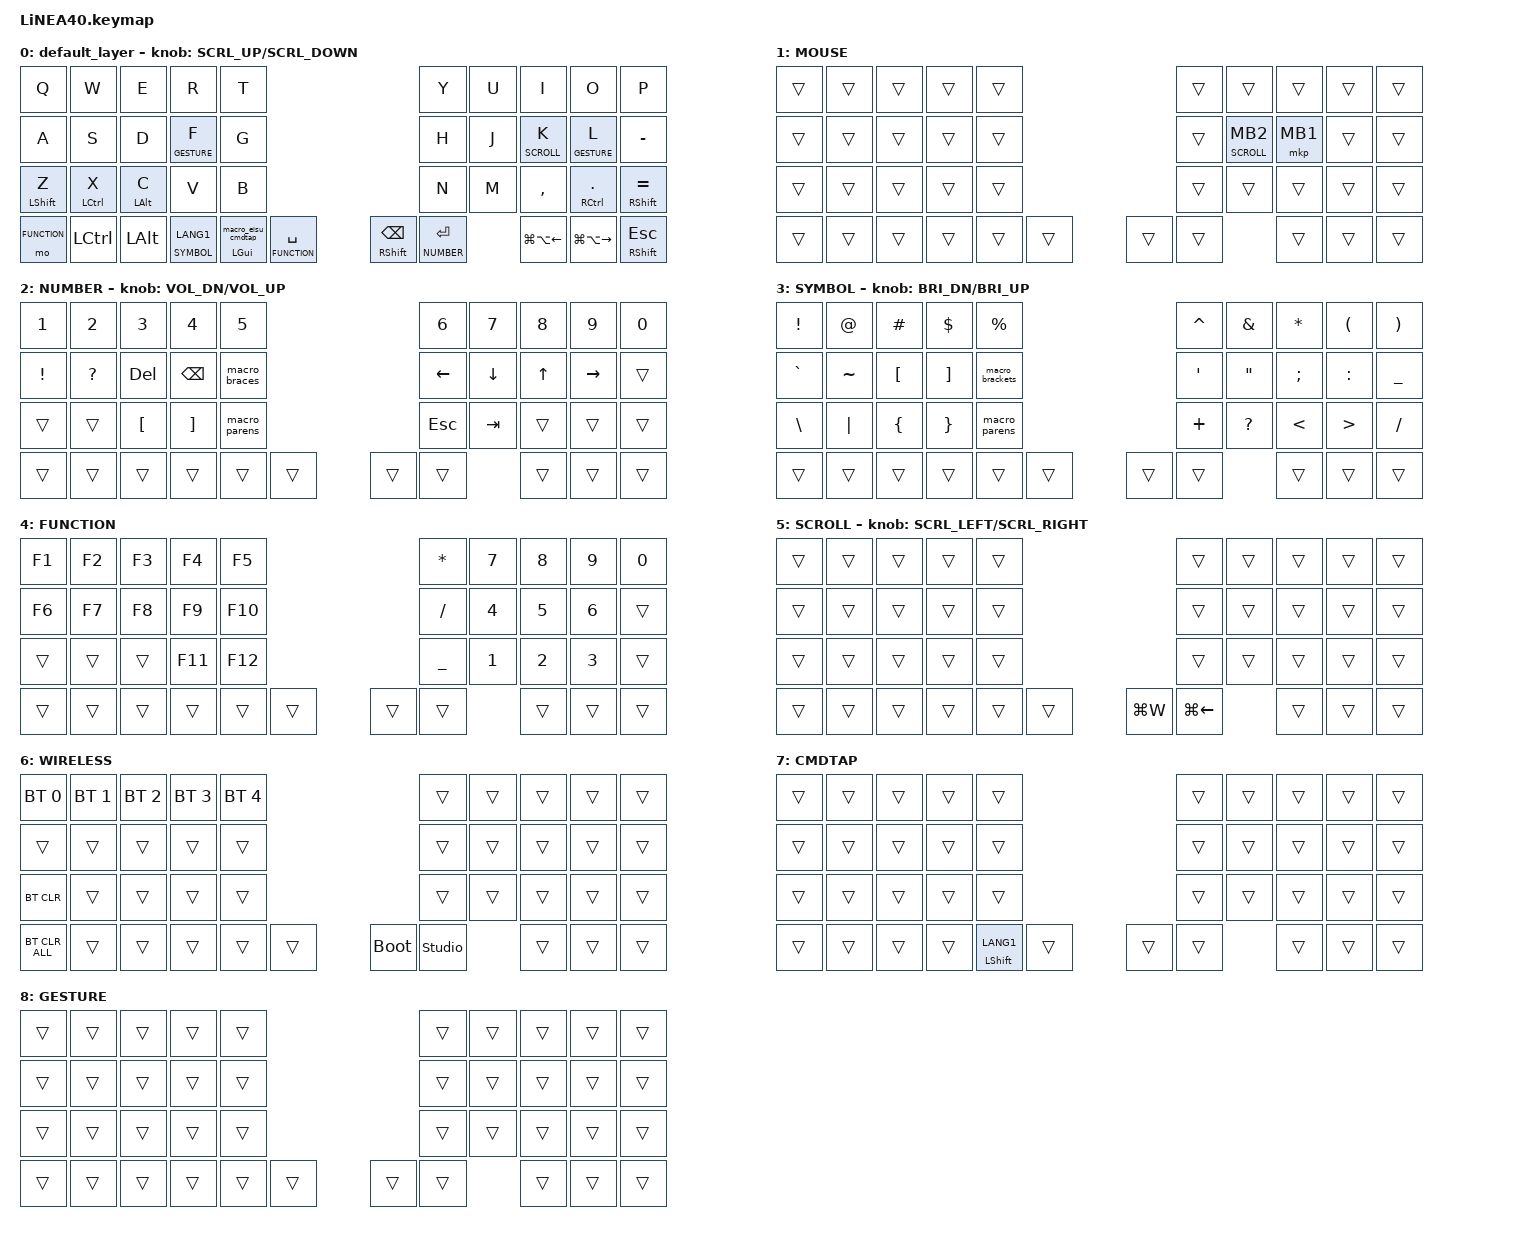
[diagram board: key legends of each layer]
#define ZMK_POINTING_DEFAULT_SCRL_VAL 150

#include <dt-bindings/zmk/input_transform.h>
#include <input/processors.dtsi>
#include <zephyr/dt-bindings/input/input-event-codes.h>
#include <mouse-gesture.dtsi>
#include <behaviors.dtsi>
#include <dt-bindings/zmk/bt.h>
#include <dt-bindings/zmk/keys.h>
#include <dt-bindings/zmk/pointing.h>

// レイヤー定義

#define MOUSE 1
#define NUMBER 2
#define SYMBOL 3
#define FUNCTION 4
#define SCROLL 5
#define WIRELESS 6
#define CMDTAP 7
#define GESTURE 8

// 書き込みコマンド
// git pull | ./flash_l.sh 左用
// git pull | ./flash_r.sh 右用

// マウスジェスチャー（SYMBOL レイヤー中 = &lt_k SYMBOL LANG1 長押し中にボールで描く）

&zip_mouse_gesture {
    stroke-size = <70>;   // 1方向と判定する移動量。小さいほど少ない操作で反応（タブジェスチャーと同じ）
    gesture-cooldown-ms = <300>;   // 発動後、次のジェスチャーを受け付けない時間（既定 500）
    enable-eager-mode;
    always-active;       // SYMBOL レイヤーの間だけこの processor が呼ばれるので常時有効でよい
    suppress-movement;   // ジェスチャー中はカーソルを動かさない
    mission_control {
        pattern = <GESTURE_UP>;
        bindings = <&kp LC(UP)>;
    };

    app_expose {
        pattern = <GESTURE_DOWN>;
        bindings = <&kp LC(DOWN)>;
    };

    desktop_left {
        pattern = <GESTURE_LEFT>;
        bindings = <&kp LC(RIGHT)>;     // 右のデスクトップへ
    };

    desktop_right {
        pattern = <GESTURE_RIGHT>;
        bindings = <&kp LC(LEFT)>;      // 左のデスクトップへ
    };
};

// タブ移動ジェスチャー（GESTURE レイヤー中 = F / L キー長押し中にボールで描く）

/ {
    input_processors {
        zip_tab_gesture: zip_tab_gesture {
            compatible = "zmk,input-processor-mouse-gesture";
            #input-processor-cells = <0>;
            stroke-size = <70>;            // 1回のタブ移動に必要なボールの量
            gesture-cooldown-ms = <100>;   // 連続でタブ移動するときの間隔（短いほど速く次へ進む）
            enable-eager-mode;
            always-active;
            suppress-movement;

            prev_tab {
                pattern = <GESTURE_RIGHT>;
                bindings = <&kp LG(LA(LEFT))>;  // 前のタブ（Cmd+Option+←）
            };

            next_tab {
                pattern = <GESTURE_LEFT>;
                bindings = <&kp LG(LA(RIGHT))>; // 次のタブ（Cmd+Option+→）
            };

            reload_tab {
                pattern = <GESTURE_UP>;
                bindings = <&kp LG(R)>;         // 再読み込み（Cmd+R）。上→下と前半が重なるため idle-timeout 後に発動
            };

            close_tab {
                pattern = <GESTURE_UP GESTURE_DOWN>;
                bindings = <&kp LG(W)>;         // タブを閉じる（Cmd+W）：上に弾いて戻す
            };

            back_tab {
                pattern = <GESTURE_DOWN>;
                bindings = <&kp LG(LEFT)>;      // 戻る（Cmd+←）。下→上と前半が重なるため idle-timeout 後に発動
            };

            forward_tab {
                pattern = <GESTURE_DOWN GESTURE_UP>;
                bindings = <&kp LG(RIGHT)>;     // 進む（Cmd+→）：下に弾いて戻す
            };
        };
    };
};

&trackball_listener {
    tab_gesture {
        layers = <GESTURE>;
        input-processors = <&zip_tab_gesture>;
    };

    gesture {
        layers = <SYMBOL>;
        input-processors = <&zip_mouse_gesture>;
    };

    scroller {
        layers = <FUNCTION SCROLL>;
        input-processors = <
            &zip_scroll_transform INPUT_TRANSFORM_Y_INVERT
            &zip_xy_to_scroll_mapper
        >;
    };
};

/ {
    macros {
        // 英数を送って CMDTAP を 300ms 有効化（cmd_eisu のタップ側から使う）
        macro_eisu_cmdtap: macro_eisu_cmdtap {
            compatible = "zmk,behavior-macro";
            #binding-cells = <0>;
            wait-ms = <0>;
            tap-ms = <5>;
            bindings =
                <&macro_tap>,
                <&kp LANG2>,
                <&sl_cmdtap CMDTAP>;
        };

        /* ()を入力する */

        macro_parens: macro_parens {
            compatible = "zmk,behavior-macro";
            #binding-cells = <0>;
            wait-ms = <10>;
            tap-ms = <10>;
            bindings = <&kp LPAR &kp RPAR>;
        };

        /* []を入力する */

        macro_brackets: macro_brackets {
            compatible = "zmk,behavior-macro";
            #binding-cells = <0>;
            wait-ms = <10>;
            tap-ms = <10>;
            bindings = <&kp LBKT &kp RBKT>;
        };

        /* {}を入力する */

        macro_braces: macro_braces {
            compatible = "zmk,behavior-macro";
            #binding-cells = <0>;
            wait-ms = <10>;
            tap-ms = <10>;
            bindings = <&kp LBRC &kp RBRC>;
        };

        macro_if: if {
            compatible = "zmk,behavior-macro";
            #binding-cells = <0>;
            bindings = <&kp LPAR &kp RPAR &kp SPACE &kp LBRC &kp RBRC>;
            label = "IF";
        };
    };

    combos {
        compatible = "zmk,combos";

        /* ============================================================
           CATEGORY: MOUSE & SYSTEM (CamelCase)
           =========================================================== */
        // Bluetoothレイヤー(6)呼び出し : 右端縦3キー同時押し

        BluetoothLayer {
            bindings = <&mo WIRELESS>;
            key-positions = <40 38 39>;
        };

        c_boot {
            bindings = <&bootloader>;
            key-positions = <6 7 8 9>;   // U I O P
        };

        combo_sqt {
            bindings = <&kp SQT>;
            key-positions = <18 17>;
        };

        combo_semi {
            bindings = <&kp SEMI>;
            key-positions = <17 16>;
        };

        combo_slash {
            bindings = <&kp SLASH>;
            key-positions = <27 28>;
        };

        combo_grave {
            bindings = <&kp GRAVE>;
            key-positions = <7 8>;
        };

        combo_m_if {
            bindings = <&macro_if>;
            key-positions = <16 17 13 12>;
        };

        combo_esc {
            bindings = <&kp ESC>;
            key-positions = <16 18>;
            timeout-ms = <60>;
        };

        combo_back_slash {
            bindings = <&kp BSLH>;
            key-positions = <26 27>;   // M + ,
        };

        combo_at {
            bindings = <&kp AT>;
            key-positions = <5 6>;
        };

        combo_ret {
            bindings = <&kp RET>;       // D+F 同時押しで Enter
            key-positions = <12 13>;
        };

        combo_eisu {
            bindings = <&kp LANG2>;     // S+D 同時押しで 英数
            key-positions = <11 12>;
        };
    };

    behaviors {
        re_kp: sensor_rotate_kp {
            compatible = "zmk,behavior-sensor-rotate-var";
            #sensor-binding-cells = <2>;
            bindings = <&kp>, <&kp>;
        };

        mouse_scrl: mouse_wheel_scrl {
            compatible = "zmk,behavior-sensor-rotate-var";
            #sensor-binding-cells = <2>;
            bindings = <&msc>, <&msc>;

            tap-ms = <20>;
        };

        // 300ms だけ有効な sticky layer（cmd_eisu タップ後の2回目押しを拾う用）

        sl_cmdtap: sl_cmdtap {
            compatible = "zmk,behavior-sticky-key";
            #binding-cells = <1>;
            release-after-ms = <300>;
            bindings = <&mo>;
        };

        // Cmd/英数キー用 Hold-Tap。使い方: &cmd_eisu LGUI 0
        //   長押し: Cmd / タップ: 英数（＋CMDTAP を 300ms 有効化）
        //   タップ直後にもう一度押し続ける: Shift、もう一度タップ: かな（CMDTAP 上の &hm LSHIFT LANG1）

        cmd_eisu: cmd_eisu {
            compatible = "zmk,behavior-hold-tap";
            label = "CMD_EISU";
            #binding-cells = <2>;
            tapping-term-ms = <160>;
            // quick-tap は外す（英数タップ直後の Cmd+C 等がタップ扱いになるため）
            flavor = "hold-preferred";
            bindings = <&kp>, <&macro_eisu_cmdtap>;
        };

        // 一般的なHold-Tap (Hold: Modifier, Tap: Key)

        hm: hm {
            compatible = "zmk,behavior-hold-tap";
            label = "HM";
            #binding-cells = <2>;
            tapping-term-ms = <195>;

            // quick-tap-ms = <190>;

            flavor = "hold-preferred";
            bindings = <&kp>, <&kp>;
        };

        // BSPC 用 Hold-Tap (Hold: Shift, Tap: BSPC)。タップの BSPC を優先する設定
        // tap-preferred: tapping-term を超えて押し続けた時だけ Shift（途中で他キーを押してもタップのまま）
        // quick-tap: タップ直後にもう一度押し続けると BSPC のリピート
        // require-prior-idle: タイピング中の連続入力では Shift にしない

        bs_sft: bs_sft {
            compatible = "zmk,behavior-hold-tap";
            label = "BS_SFT";
            #binding-cells = <2>;
            tapping-term-ms = <200>;
            quick-tap-ms = <200>;
            require-prior-idle-ms = <150>;
            flavor = "tap-preferred";
            bindings = <&kp>, <&kp>;
        };

        // 一般的なLayer-Tap (Hold: Layer, Tap: Key)

        lt_k: lt_k {
            compatible = "zmk,behavior-hold-tap";
            label = "LT_K";
            #binding-cells = <2>;
            tapping-term-ms = <195>;
            flavor = "hold-preferred";
            hold-while-undecided;   // 押した瞬間にレイヤーを有効にし、ジェスチャーをすぐ始められるようにする
            // quick-tap-ms = <10>;

            bindings = <&mo>, <&kp>;
        };

        // 修飾キー用 Hold-Tap（Z/X/C/DOT/EQUAL）

        st: st {
            compatible = "zmk,behavior-hold-tap";
            label = "ST";
            #binding-cells = <2>;
            tapping-term-ms = <180>;
            quick-tap-ms = <150>;
            require-prior-idle-ms = <150>;
            flavor = "tap-preferred";
            hold-trigger-on-release;
            bindings = <&kp>, <&kp>;
        };

        // スペース用 Layer-Tap (Hold: FUNCTION, Tap: SPACE)

        stl: stl {
            compatible = "zmk,behavior-hold-tap";
            label = "STL";
            #binding-cells = <2>;

            // CLine46 の slt と同じ値

            tapping-term-ms = <170>;
            quick-tap-ms = <140>;
            require-prior-idle-ms = <140>;
            flavor = "balanced";

            // 押した瞬間から FUNCTION を有効にし、ボールを動かすとすぐスクロールになるようにする。
            // タップと判定されたら FUNCTION を解除してから SPACE を送る。押下中の他キーは判定後に処理される

            hold-while-undecided;
            bindings = <&mo>, <&kp>;
        };

        // 文字キー用 Layer-Tap（K: SCROLL / F・L: GESTURE）
        // 押した瞬間からレイヤーを有効にし、長押し中にボールを動かすとスクロール・タブジェスチャーになる
        // tap-preferred + require-prior-idle でタイピング中は文字のまま

        l_scrl: l_scrl {
            compatible = "zmk,behavior-hold-tap";
            label = "L_SCRL";
            #binding-cells = <2>;
            tapping-term-ms = <200>;
            quick-tap-ms = <150>;
            require-prior-idle-ms = <150>;
            flavor = "tap-preferred";
            hold-while-undecided;
            bindings = <&mo>, <&kp>;
        };

        // マウスボタン用 Layer-Tap（MOUSE レイヤーの J: タップ MB2 / 長押し SCROLL）
        // 押した瞬間からレイヤーを有効にし、長押し中にボールを動かすとすぐスクロールになる

        mb_lt: mb_lt {
            compatible = "zmk,behavior-hold-tap";
            label = "MB_LT";
            #binding-cells = <2>;
            tapping-term-ms = <200>;
            flavor = "tap-preferred";
            hold-while-undecided;
            bindings = <&mo>, <&mkp>;
        };
    };

    keymap {
        compatible = "zmk,keymap";

        //0 デフォルト
        // 右下2キー: 前のタブ / 次のタブ（Cmd+Option+← / →）

        default_layer {
            bindings = <
&kp Q         &kp W        &kp E       &kp R               &kp T                                              &kp Y             &kp U  &kp I      &kp O          &kp P
&kp A         &kp S        &kp D       &l_scrl GESTURE F   &kp G                                              &kp H             &kp J  &l_scrl SCROLL K      &l_scrl GESTURE L  &kp MINUS
&st LSHIFT Z  &st LCTRL X  &st LALT C  &kp V               &kp B                                              &kp N             &kp M  &kp COMMA  &st RCTRL DOT  &st RSHIFT EQUAL
&mo FUNCTION  &kp LCTRL    &kp LALT    &lt_k SYMBOL LANG1  &cmd_eisu LGUI 0  &stl FUNCTION SPACE    &bs_sft RSHIFT BSPC  &lt_k NUMBER RET         &kp LG(LA(LEFT))  &kp LG(LA(RIGHT))  &hm RSHIFT ESC
            >;

            sensor-bindings = <&mouse_scrl SCRL_UP SCRL_DOWN>;
        };

        //1 マウス操作用

        MOUSE {
            bindings = <
&trans  &trans  &trans  &trans  &trans                    &trans  &trans    &trans    &trans      &trans
&trans  &trans  &trans  &trans  &trans                    &trans  &mb_lt SCROLL MB2  &mkp MB1  &trans  &trans
&trans  &trans  &trans  &trans  &trans                    &trans  &trans    &trans    &trans      &trans
&trans  &trans  &trans  &trans  &trans  &trans    &trans  &trans            &trans    &trans      &trans
            >;
        };

        //2 数字・基本記号・矢印キー
        // 右親指（BSPC）の負担を減らすため、左手の D/F 位置に DEL / BSPC を置く

        NUMBER {
            bindings = <
&kp N1    &kp N2     &kp N3    &kp N4    &kp N5                           &kp N6    &kp N7    &kp N8  &kp N9     &kp N0
&kp EXCL  &kp QMARK  &kp DEL   &kp BSPC  &macro_braces                    &kp LEFT  &kp DOWN  &kp UP  &kp RIGHT  &trans
&trans    &trans     &kp LBKT  &kp RBKT  &macro_parens                    &kp ESC   &kp TAB   &trans  &trans     &trans
&trans    &trans     &trans    &trans    &trans         &trans    &trans  &trans              &trans  &trans     &trans
            >;

            sensor-bindings = <&re_kp C_VOL_DN C_VOL_UP>;
        };

        //3 記号

        SYMBOL {
            bindings = <
&kp EXCL   &kp AT     &kp HASH  &kp DLLR  &kp PRCNT                          &kp CARET  &kp AMPS   &kp ASTRK  &kp LPAR   &kp RPAR
&kp GRAVE  &kp TILDE  &kp LBKT  &kp RBKT  &macro_brackets                    &kp SQT    &kp DQT    &kp SEMI   &kp COLON  &kp UNDER
&kp BSLH   &kp PIPE   &kp LBRC  &kp RBRC  &macro_parens                      &kp PLUS   &kp QMARK  &kp LT     &kp GT     &kp SLASH
&trans     &trans     &trans    &trans    &trans           &trans    &trans  &trans                &trans     &trans     &trans
            >;

            sensor-bindings = <&re_kp C_BRI_DN C_BRI_UP>;
        };

        //4 F1〜F12・テンキー

        FUNCTION {
            bindings = <
&kp F1  &kp F2  &kp F3  &kp F4   &kp F5                     &kp ASTRK  &kp N7  &kp N8  &kp N9  &kp N0
&kp F6  &kp F7  &kp F8  &kp F9   &kp F10                    &kp SLASH  &kp N4  &kp N5  &kp N6  &trans
&trans  &trans  &trans  &kp F11  &kp F12                    &kp UNDER  &kp N1  &kp N2  &kp N3  &trans
&trans  &trans  &trans  &trans   &trans   &trans    &trans  &trans             &trans  &trans  &trans
            >;
        };

        //5 スクロール操作用

        SCROLL {
            bindings = <
&trans  &trans  &trans  &trans  &trans                       &trans        &trans  &trans  &trans  &trans
&trans  &trans  &trans  &trans  &trans                       &trans        &trans  &trans  &trans  &trans
&trans  &trans  &trans  &trans  &trans                       &trans        &trans  &trans  &trans  &trans
&trans  &trans  &trans  &trans  &trans  &trans    &kp LG(W)  &kp LG(LEFT)          &trans  &trans  &trans
            >;

            sensor-bindings = <&mouse_scrl SCRL_LEFT SCRL_RIGHT>;
        };

        //6 通信・システム設定

        WIRELESS {
            bindings = <
&bt BT_SEL 0    &bt BT_SEL 1  &bt BT_SEL 2  &bt BT_SEL 3  &bt BT_SEL 4                         &trans          &trans  &trans  &trans  &trans
&trans          &trans        &trans        &trans        &trans                               &trans          &trans  &trans  &trans  &trans
&bt BT_CLR      &trans        &trans        &trans        &trans                               &trans          &trans  &trans  &trans  &trans
&bt BT_CLR_ALL  &trans        &trans        &trans        &trans        &trans    &bootloader  &studio_unlock          &trans  &trans  &trans
            >;
        };

        //7 cmd_eisu タップ直後 300ms だけ有効。同じキーを押し続けると Shift（タップならかな）

        CMDTAP {
            bindings = <
&trans  &trans  &trans  &trans  &trans                               &trans  &trans  &trans  &trans  &trans
&trans  &trans  &trans  &trans  &trans                               &trans  &trans  &trans  &trans  &trans
&trans  &trans  &trans  &trans  &trans                               &trans  &trans  &trans  &trans  &trans
&trans  &trans  &trans  &trans  &hm LSHIFT LANG1  &trans    &trans  &trans          &trans  &trans  &trans
            >;
        };

        //8 F / L 長押し中のタブ移動ジェスチャー用（キーは全て透過）

        GESTURE {
            bindings = <
&trans  &trans  &trans  &trans  &trans                    &trans  &trans  &trans  &trans  &trans
&trans  &trans  &trans  &trans  &trans                    &trans  &trans  &trans  &trans  &trans
&trans  &trans  &trans  &trans  &trans                    &trans  &trans  &trans  &trans  &trans
&trans  &trans  &trans  &trans  &trans  &trans    &trans  &trans          &trans  &trans  &trans
            >;
        };
    };
};
